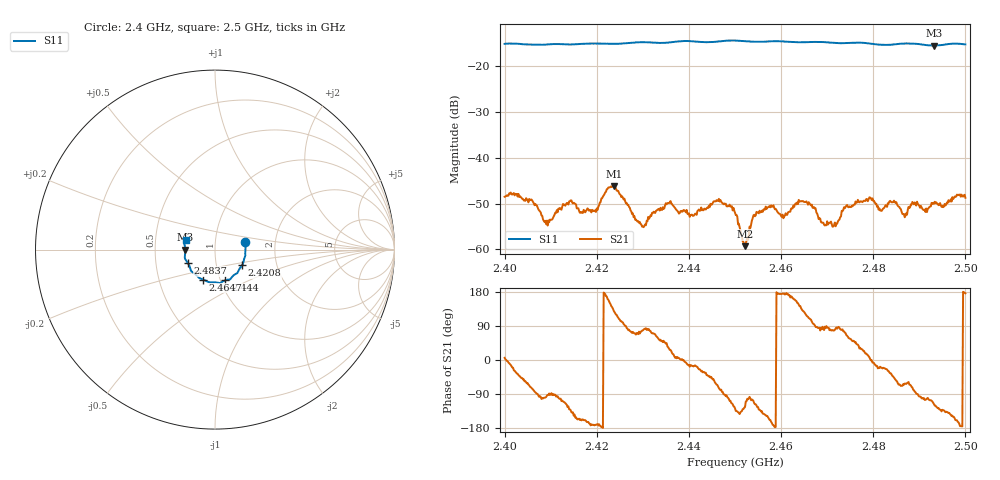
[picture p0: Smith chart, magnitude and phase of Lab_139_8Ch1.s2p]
# Hz S RI R 50
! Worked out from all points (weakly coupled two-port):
!   601 points, 2.4 GHz to 2.5 GHz, reference 50 ohm
!   highest |S21| = -46.22 dB at 2.4237 GHz (marker M1); lowest = -59.3 dB at 2.4522 GHz (marker M2)
!   lowest |S11| = -15.6 dB at 2.4932 GHz (marker M3), VSWR 1.40, Z = 35.8 - j0.0719 ohm
!   |S11| at or under -10 dB: start of sweep to end of sweep
!   S12 and S22 are empty: the file has one direction only
!   S11 on the Smith chart (normalised r, x): 2.4 GHz: 1.40, +0.12; 2.4208 GHz: 1.33, -0.24; 2.444 GHz: 1.06, -0.37; 2.4647 GHz: 0.83, -0.29; 2.4837 GHz: 0.73, -0.11; 2.5 GHz: 0.72, +0.08
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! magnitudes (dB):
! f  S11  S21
! 2.4 GHz  -15.2  -48.5
! 2.4058 GHz  -15.4  -49.1
! 2.4092 GHz  -15.4  -53.7
! 2.414 GHz  -15.4  -49.5
! 2.4167 GHz  -15.2  -52.0
! 2.4208 GHz  -15.2  -49.7
! 2.4237 GHz  -15.2  -46.2
! 2.4298 GHz  -14.9  -55.0
! 2.4333 GHz  -15.0  -51.2
! 2.444 GHz  -14.9  -50.9
! 2.45 GHz  -14.5  -52.0
! 2.4522 GHz  -14.7  -59.3
! 2.4545 GHz  -14.8  -52.6
! 2.4647 GHz  -14.9  -49.5
! 2.4667 GHz  -14.8  -50.2
! 2.4715 GHz  -15.0  -54.7
! 2.4767 GHz  -15.0  -49.2
! 2.4833 GHz  -15.5  -50.0
! 2.4837 GHz  -15.4  -49.4
! 2.4868 GHz  -15.2  -53.0
! 2.4932 GHz  -15.6  -50.0
! 2.5 GHz  -15.3  -48.7
